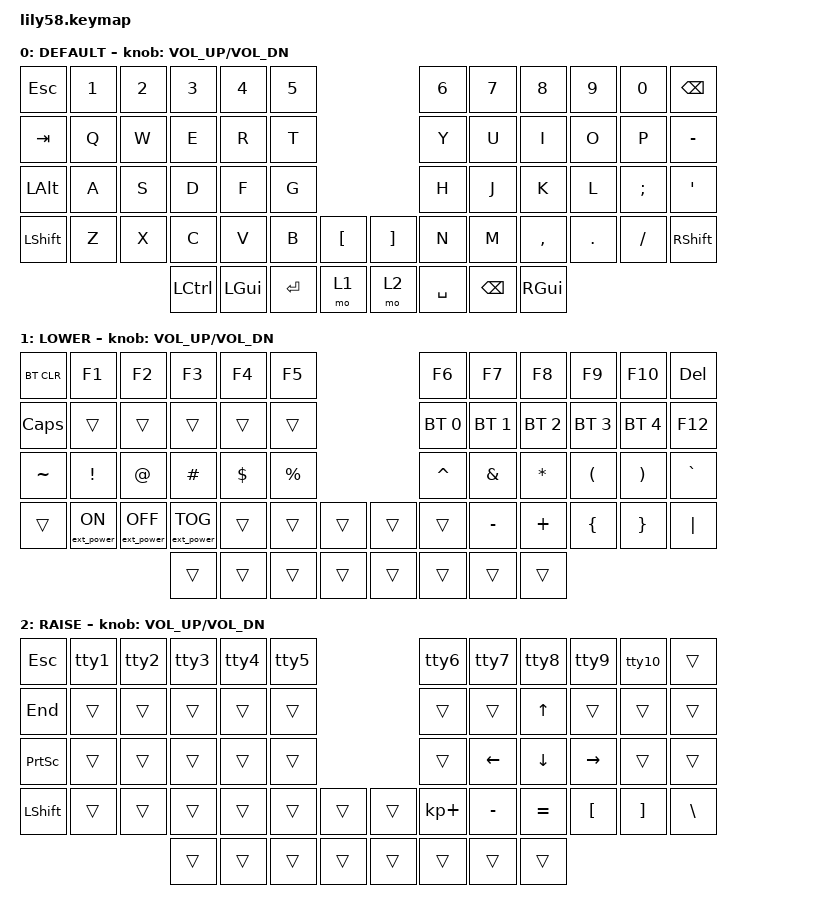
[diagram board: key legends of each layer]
/*
 * Copyright (c) 2020 The ZMK Contributors
 *
 * SPDX-License-Identifier: MIT
 */

#include <behaviors.dtsi>
#include <dt-bindings/zmk/keys.h>
#include <dt-bindings/zmk/bt.h>
#include <dt-bindings/zmk/ext_power.h>

/ {
    macros {
        tty1: tty1 {
            compatible = "zmk,behavior-macro";
            #binding-cells = <0>;
            bindings = <&macro_press &kp LCTRL &kp LALT>
                     , <&macro_tap &kp F1>
                     , <&macro_release &kp LCTRL &kp LALT>;
        };
        tty2: tty2 {
            compatible = "zmk,behavior-macro";
            #binding-cells = <0>;
            bindings = <&macro_press &kp LCTRL &kp LALT>
                     , <&macro_tap &kp F2>
                     , <&macro_release &kp LCTRL &kp LALT>;
        };
        tty3: tty3 {
            compatible = "zmk,behavior-macro";
            #binding-cells = <0>;
            bindings = <&macro_press &kp LCTRL &kp LALT>
                     , <&macro_tap &kp F3>
                     , <&macro_release &kp LCTRL &kp LALT>;
        };
        tty4: tty4 {
            compatible = "zmk,behavior-macro";
            #binding-cells = <0>;
            bindings = <&macro_press &kp LCTRL &kp LALT>
                     , <&macro_tap &kp F4>
                     , <&macro_release &kp LCTRL &kp LALT>;
        };
        tty5: tty5 {
            compatible = "zmk,behavior-macro";
            #binding-cells = <0>;
            bindings = <&macro_press &kp LCTRL &kp LALT>
                     , <&macro_tap &kp F5>
                     , <&macro_release &kp LCTRL &kp LALT>;
        };
        tty6: tty6 {
            compatible = "zmk,behavior-macro";
            #binding-cells = <0>;
            bindings = <&macro_press &kp LCTRL &kp LALT>
                     , <&macro_tap &kp F6>
                     , <&macro_release &kp LCTRL &kp LALT>;
        };
        tty7: tty7 {
            compatible = "zmk,behavior-macro";
            #binding-cells = <0>;
            bindings = <&macro_press &kp LCTRL &kp LALT>
                     , <&macro_tap &kp F7>
                     , <&macro_release &kp LCTRL &kp LALT>;
        };
        tty8: tty8 {
            compatible = "zmk,behavior-macro";
            #binding-cells = <0>;
            bindings = <&macro_press &kp LCTRL &kp LALT>
                     , <&macro_tap &kp F8>
                     , <&macro_release &kp LCTRL &kp LALT>;
        };
        tty9: tty9 {
            compatible = "zmk,behavior-macro";
            #binding-cells = <0>;
            bindings = <&macro_press &kp LCTRL &kp LALT>
                     , <&macro_tap &kp F9>
                     , <&macro_release &kp LCTRL &kp LALT>;
        };
        tty10: tty10 {
            compatible = "zmk,behavior-macro";
            #binding-cells = <0>;
            bindings = <&macro_press &kp LCTRL &kp LALT>
                     , <&macro_tap &kp F10>
                     , <&macro_release &kp LCTRL &kp LALT>;
        };
        gcc: gcc {
            compatible = "zmk,behavior-macro";
            #binding-cells = <0>;
            bindings = <&macro_tap &kp G &kp C &kp C>;
        };
    };

    keymap {
        compatible = "zmk,keymap";

        default_layer {
// ------------------------------------------------------------------------------------------------------------
// |  ESC  |  1  |  2  |  3   |  4   |  5   |                   |  6   |  7    |  8    |  9   |   0   |   `   |
// |  TAB  |  Q  |  W  |  E   |  R   |  T   |                   |  Y   |  U    |  I    |  O   |   P   |   -   |
// |  CTRL |  A  |  S  |  D   |  F   |  G   |                   |  H   |  J    |  K    |  L   |   ;   |   '   |
// | SHIFT |  Z  |  X  |  C   |  V   |  B   |   "["  |  |  "]"  |  N   |  M    |  ,    |  .   |   /   | SHIFT |
//                     | ALT  | GUI  | LOWER|  SPACE |  | ENTER | RAISE| BSPC  | GUI   |
            bindings = <
&kp ESC   &kp N1 &kp N2 &kp N3   &kp N4   &kp N5                     &kp N6 &kp N7   &kp N8    &kp N9  &kp N0   &kp BSPC
&kp TAB   &kp Q  &kp W  &kp E    &kp R    &kp T                      &kp Y  &kp U    &kp I     &kp O   &kp P    &kp MINUS
&kp LALT &kp A  &kp S  &kp D    &kp F    &kp G                      &kp H  &kp J    &kp K     &kp L   &kp SEMI &kp SQT
&kp LSHFT &kp Z  &kp X  &kp C    &kp V    &kp B  &kp LBKT   &kp RBKT &kp N  &kp M    &kp COMMA &kp DOT &kp FSLH &kp RSHFT
                        &kp LCTRL &kp LGUI &kp RET &mo 1    &mo 2 &kp SPACE  &kp BSPC &kp RGUI
            >;

            sensor-bindings = <&inc_dec_kp C_VOL_UP C_VOL_DN>;
            label = "DEFAULT";
        };

        lower_layer {
// ------------------------------------------------------------------------------------------------------------
// | BTCLR | BT1 | BT2 |  BT3 |  BT4 |  BT5 |                   |      |       |       |      |       |       |
// |  F1   |  F2 |  F3 |  F4  |  F5  |  F6  |                   |  F7  |  F8   |  F9   |  F10 |  F11  |  F12  |
// |   `   |  !  |  @  |  #   |  $   |  %   |                   |  ^   |  &    |  *    |  (   |   )   |   ~   |
// |       |     |     |      |      |      |        |  |       |      |  _    |  +    |  {   |   }   |  "|"  |
//                     |      |      |      |        |  |       |      |       |       |
            bindings = <
&bt BT_CLR &kp F1 &kp F2 &kp F3 &kp F4 &kp F5                 &kp F6 &kp F7 &kp F8 &kp F9 &kp F10 &kp DELETE
&kp CAPS      &trans &trans &trans &trans &trans                       &bt BT_SEL 0 &bt BT_SEL 1 &bt BT_SEL 2 &bt BT_SEL 3 &bt BT_SEL 4 &kp F12
&kp TILDE  &kp EXCL         &kp AT            &kp HASH          &kp DOLLAR   &kp PRCNT                    &kp CARET &kp AMPS  &kp ASTRK &kp LPAR  &kp RPAR  &kp GRAVE
&trans     &ext_power EP_ON &ext_power EP_OFF &ext_power EP_TOG &trans       &trans    &trans   &trans    &trans    &kp MINUS &kp PLUS  &kp LBRC  &kp RBRC  &kp PIPE
                                              &trans            &trans       &trans    &trans   &trans    &trans    &trans    &trans
            >;

            sensor-bindings = <&inc_dec_kp C_VOL_UP C_VOL_DN>;
            label = "LOWER";
        };

        raise_layer {
// ------------------------------------------------------------------------------------------------------------
// |       |     |     |      |      |      |                   |      |       |       |      |       |       |
// |   `   |  1  |  2  |  3   |  4   |  5   |                   |  6   |   7   |   8   |  9   |   0   |       |
// |   F1  |  F2 |  F3 |  F4  |  F5  |  F6  |                   |      |   <-  |   v   |  ^   |  ->   |       |
// |   F7  |  F8 |  F9 |  F10 |  F11 |  F12 |        |  |       |  +   |   -   |   =   |  [   |   ]   |   \   |
//                     |      |      |      |        |  |       |      |       |       |
            bindings = <
&kp ESC   &tty1  &tty2  &tty3   &tty4   &tty5                        &tty6       &tty7     &tty8     &tty9    &tty10    &trans
&kp END   &trans &trans &trans  &trans  &trans                       &trans      &trans    &kp UP    &trans   &trans    &trans
&kp PSCRN &trans &trans &trans  &trans  &trans                       &trans      &kp LEFT  &kp DOWN  &kp RIGHT    &trans    &trans
&kp LSHFT &trans &trans &trans  &trans  &trans    &trans   &trans    &kp KP_PLUS &kp MINUS &kp EQUAL &kp LBKT &kp RBKT  &kp BSLH
                        &trans  &trans  &trans    &trans   &trans    &trans      &trans    &trans
            >;

            sensor-bindings = <&inc_dec_kp C_VOL_UP C_VOL_DN>;
            label = "RAISE";
        };
    };
};

&nice_view_spi {
    cs-gpios = <&gpio0 22 GPIO_ACTIVE_HIGH>;
};
